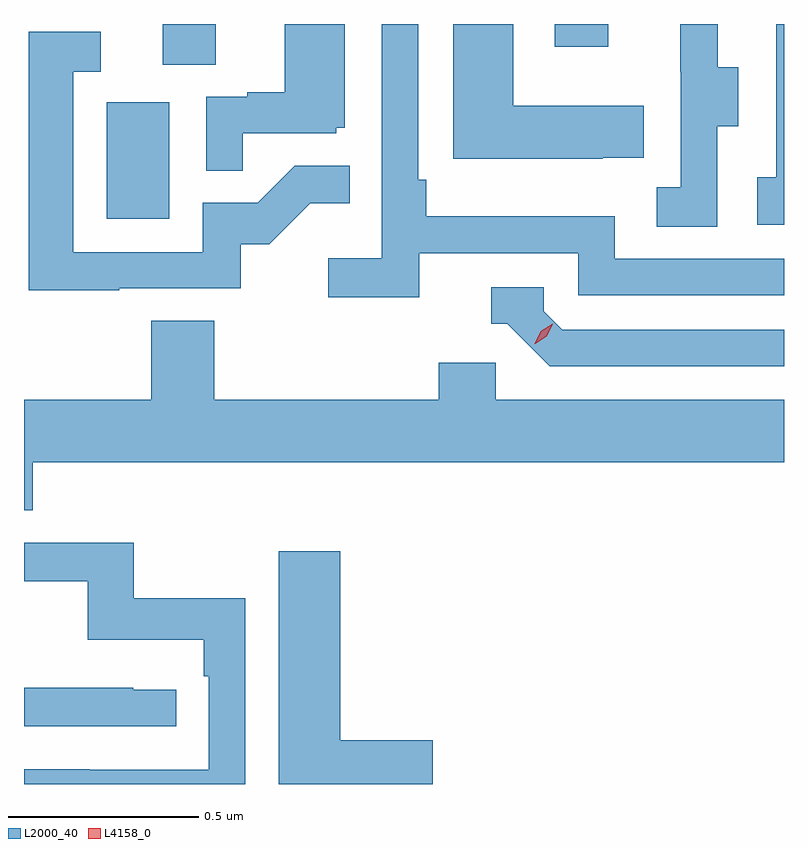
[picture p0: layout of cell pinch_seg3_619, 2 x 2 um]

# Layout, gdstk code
import gdstk
lib = gdstk.Library(unit=1e-6, precision=1e-09)
def R(c, l, rs):  # rectangles x0, y0, x1, y1
    for r in rs: c.add(gdstk.rectangle(r[:2], r[2:], *l))
def P(c, l, *ps):  # polygons
    for p in ps: c.add(gdstk.Polygon(p, *l))
L2000_40 = (2000, 40)
L4158_0 = (4158, 0)

pinch_seg3_619 = lib.new_cell('pinch_seg3_619')
R(pinch_seg3_619, L2000_40, [(1045.994,706.884,1046.158,707.191), (1046.141,707.29,1046.281,707.397), (1047.173,707.337,1047.313,707.397)])
P(pinch_seg3_619, L2000_40, [(1046.816,706.794),(1047.234,706.794),(1047.234,706.683),(1047.776,706.683),(1047.776,706.779),(1047.33,706.779),(1047.33,706.891),(1046.834,706.891),(1046.834,706.987),(1046.814,706.987),(1046.814,707.397),(1046.718,707.397),(1046.718,706.78),(1046.577,706.78),(1046.577,706.678),(1046.816,706.678)],
  [(1047.776,707.397),(1047.756,707.397),(1047.756,706.994),(1047.705,706.994),(1047.705,706.869),(1047.776,706.869)],
  [(1047.6,707.128),(1047.655,707.128),(1047.655,707.283),(1047.601,707.283),(1047.601,707.397),(1047.503,707.397),(1047.503,707.271),(1047.504,707.271),(1047.504,706.967),(1047.441,706.967),(1047.441,706.864),(1047.6,706.864)],
  [(1046.351,707.109),(1046.598,707.109),(1046.598,707.124),(1046.62,707.124),(1046.62,707.397),(1046.462,707.397),(1046.462,707.218),(1046.363,707.218),(1046.363,707.205),(1046.256,707.205),(1046.256,707.011),(1046.351,707.011)],
  [(1047.299,707.045),(1047.407,707.045),(1047.407,707.182),(1047.064,707.182),(1047.064,707.397),(1046.906,707.397),(1046.906,707.042),(1047.299,707.042)],
  [(1046.027,706.701),(1046.346,706.701),(1046.346,706.818),(1046.422,706.818),(1046.529,706.925),(1046.633,706.925),(1046.633,707.024),(1046.489,707.024),(1046.391,706.926),(1046.247,706.926),(1046.247,706.797),(1045.905,706.797),(1045.905,707.271),(1045.978,707.271),(1045.978,707.377),(1045.789,707.377),(1045.789,706.696),(1046.027,706.696)],
  [(1047.776,706.593),(1047.192,706.593),(1047.144,706.641),(1047.144,706.704),(1047.005,706.704),(1047.005,706.608),(1047.048,706.608),(1047.159,706.497),(1047.776,706.497)],
  [(1045.799,706.244),(1047.776,706.244),(1047.776,706.408),(1047.018,706.408),(1047.018,706.506),(1046.867,706.506),(1046.867,706.408),(1046.276,706.408),(1046.276,706.616),(1046.111,706.616),(1046.111,706.408),(1045.776,706.408),(1045.776,706.117),(1045.799,706.117)],
  [(1046.358,705.886),(1046.065,705.886),(1046.065,706.032),(1045.776,706.032),(1045.776,705.931),(1045.944,705.931),(1045.944,705.776),(1046.249,705.776),(1046.249,705.68),(1046.262,705.68),(1046.262,705.435),(1045.949,705.435),(1045.949,705.436),(1045.776,705.436),(1045.776,705.397),(1046.358,705.397)],
  [(1046.851,705.512),(1046.608,705.512),(1046.608,706.009),(1046.447,706.009),(1046.447,705.397),(1046.851,705.397)],
  [(1046.176,705.645),(1046.063,705.645),(1046.063,705.65),(1045.776,705.65),(1045.776,705.549),(1046.176,705.549)])
P(pinch_seg3_619, L4158_0, [(1047.12,706.555),(1047.12,706.556),(1047.136,706.588),(1047.167,706.608),(1047.167,706.608),(1047.167,706.608),(1047.151,706.575),(1047.121,706.555)])

lib.write_gds('pinch_seg3_619.gds')
